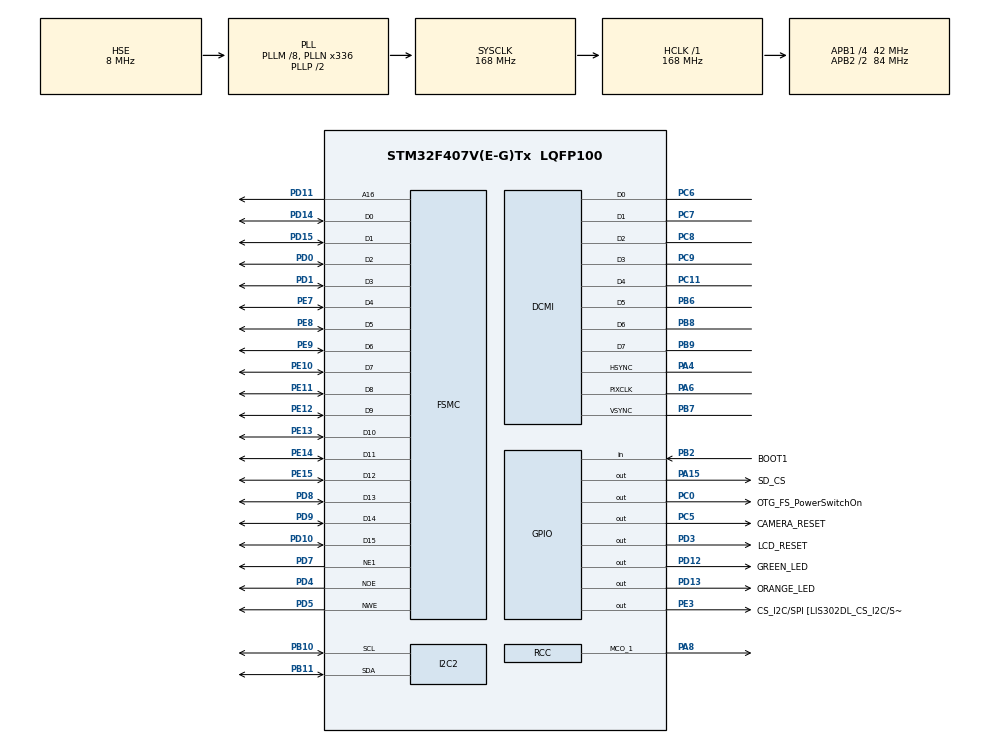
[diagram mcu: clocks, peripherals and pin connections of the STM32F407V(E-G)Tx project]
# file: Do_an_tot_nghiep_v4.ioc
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DCMI.PCKPolarity=DCMI_PCKPOLARITY_RISING
DCMI.VSPolarity=DCMI_VSPOLARITY_HIGH
Dma.DCMI.0.Direction=DMA_PERIPH_TO_MEMORY
Dma.DCMI.0.FIFOMode=DMA_FIFOMODE_DISABLE
Dma.DCMI.0.Instance=DMA2_Stream1
Dma.DCMI.0.MemDataAlignment=DMA_MDATAALIGN_WORD
Dma.DCMI.0.MemInc=DMA_MINC_DISABLE
Dma.DCMI.0.Mode=DMA_NORMAL
Dma.DCMI.0.PeriphDataAlignment=DMA_PDATAALIGN_WORD
Dma.DCMI.0.PeriphInc=DMA_PINC_DISABLE
Dma.DCMI.0.Priority=DMA_PRIORITY_LOW
Dma.Request0=DCMI
FSMC.AddressSetupTime1=2
FSMC.BusTurnAroundDuration1=1
FSMC.DataSetupTime1=4
Mcu.Family=STM32F4
Mcu.Name=STM32F407V(E-G)Tx
Mcu.Package=LQFP100
NVIC.DCMI_IRQn=true\:5\:0\:false\:false\:true\:true\:true
NVIC.DMA2_Stream1_IRQn=true\:5\:0\:false\:false\:true\:true\:true
NVIC.PriorityGroup=NVIC_PRIORITYGROUP_4
NVIC.TIM6_DAC_IRQn=true\:0\:0\:false\:false\:true\:false\:true
NVIC.TimeBase=TIM6_DAC_IRQn
NVIC.TimeBaseIP=TIM6
PA10.GPIO_Label=OTG_FS_ID
PA10.GPIO_Mode=GPIO_MODE_AF_PP
PA10.GPIO_PuPd=GPIO_NOPULL
PA10.GPIO_Speed=GPIO_SPEED_FREQ_LOW
PA10.Signal=USB_OTG_FS_ID
PA11.GPIO_Label=OTG_FS_DM
PA11.GPIO_Mode=GPIO_MODE_AF_PP
PA11.GPIO_PuPd=GPIO_NOPULL
PA11.GPIO_Speed=GPIO_SPEED_FREQ_LOW
PA11.Signal=USB_OTG_FS_DM
PA12.GPIO_Label=OTG_FS_DP
PA12.GPIO_Mode=GPIO_MODE_AF_PP
PA12.GPIO_PuPd=GPIO_NOPULL
PA12.GPIO_Speed=GPIO_SPEED_FREQ_LOW
PA12.Signal=USB_OTG_FS_DP
PA13.GPIO_Label=SWDIO
PA13.Signal=SYS_JTMS-SWDIO
PA14.GPIO_Label=SWCLK
PA14.Signal=SYS_JTCK-SWCLK
PA15.GPIO_Label=SD_CS
PA15.PinState=GPIO_PIN_SET
PA15.Signal=GPIO_Output
PA4.GPIO_PuPd=GPIO_PULLDOWN
PA4.GPIO_Speed=GPIO_SPEED_FREQ_VERY_HIGH
PA4.Mode=Slave_8_bits_External_Synchro
PA4.Signal=DCMI_HSYNC
PA6.GPIO_PuPd=GPIO_PULLDOWN
PA6.GPIO_Speed=GPIO_SPEED_FREQ_VERY_HIGH
PA6.Mode=Slave_8_bits_External_Synchro
PA6.Signal=DCMI_PIXCLK
PA8.GPIO_Speed=GPIO_SPEED_FREQ_VERY_HIGH
PA8.Mode=Clock-out-1
PA8.Signal=RCC_MCO_1
PA9.GPIO_Label=VBUS_FS
PA9.GPIO_Mode=GPIO_MODE_INPUT
PA9.GPIO_PuPd=GPIO_NOPULL
PA9.Signal=USB_OTG_FS_VBUS
PB10.GPIO_Pu=GPIO_PULLUP
PB10.Mode=I2C
PB10.Signal=I2C2_SCL
PB11.GPIO_Pu=GPIO_PULLUP
PB11.Mode=I2C
PB11.Signal=I2C2_SDA
PB2.GPIO_Label=BOOT1
PB2.GPIO_Mode=GPIO_MODE_INPUT
PB2.GPIO_PuPd=GPIO_NOPULL
PB2.Signal=GPIO_Input
PB3.GPIO_Label=SWO
PB3.Signal=SYS_JTDO-SWO
PB6.GPIO_PuPd=GPIO_PULLDOWN
PB6.GPIO_Speed=GPIO_SPEED_FREQ_VERY_HIGH
PB6.Mode=Slave_8_bits_External_Synchro
PB6.Signal=DCMI_D5
PB7.GPIO_PuPd=GPIO_PULLDOWN
PB7.GPIO_Speed=GPIO_SPEED_FREQ_VERY_HIGH
PB7.Mode=Slave_8_bits_External_Synchro
PB7.Signal=DCMI_VSYNC
PB8.GPIO_PuPd=GPIO_PULLDOWN
PB8.GPIO_Speed=GPIO_SPEED_FREQ_VERY_HIGH
PB8.Mode=Slave_8_bits_External_Synchro
PB8.Signal=DCMI_D6
PB9.GPIO_PuPd=GPIO_PULLDOWN
PB9.GPIO_Speed=GPIO_SPEED_FREQ_VERY_HIGH
PB9.Mode=Slave_8_bits_External_Synchro
PB9.Signal=DCMI_D7
PC0.GPIO_Label=OTG_FS_PowerSwitchOn
PC0.GPIO_PuPd=GPIO_NOPULL
PC0.GPIO_Speed=GPIO_SPEED_FREQ_LOW
PC0.PinState=GPIO_PIN_SET
PC0.Signal=GPIO_Output
PC11.GPIO_PuPd=GPIO_PULLDOWN
PC11.GPIO_Speed=GPIO_SPEED_FREQ_VERY_HIGH
PC11.Mode=Slave_8_bits_External_Synchro
PC11.Signal=DCMI_D4
PC14-OSC32_IN.GPIO_Label=PC14-OSC32_IN
PC14-OSC32_IN.Signal=RCC_OSC32_IN
PC15-OSC32_OUT.GPIO_Label=PC15-OSC32_OUT
PC15-OSC32_OUT.Signal=RCC_OSC32_OUT
PC5.GPIO_Label=CAMERA_RESET
PC5.GPIO_PuPd=GPIO_PULLUP
PC5.Signal=GPIO_Output
PC6.GPIO_PuPd=GPIO_PULLDOWN
PC6.GPIO_Speed=GPIO_SPEED_FREQ_VERY_HIGH
PC6.Mode=Slave_8_bits_External_Synchro
PC6.Signal=DCMI_D0
PC7.GPIO_PuPd=GPIO_PULLDOWN
PC7.GPIO_Speed=GPIO_SPEED_FREQ_VERY_HIGH
PC7.Mode=Slave_8_bits_External_Synchro
PC7.Signal=DCMI_D1
PC8.GPIO_PuPd=GPIO_PULLDOWN
PC8.GPIO_Speed=GPIO_SPEED_FREQ_VERY_HIGH
PC8.Mode=Slave_8_bits_External_Synchro
PC8.Signal=DCMI_D2
PC9.GPIO_PuPd=GPIO_PULLDOWN
PC9.GPIO_Speed=GPIO_SPEED_FREQ_VERY_HIGH
PC9.Mode=Slave_8_bits_External_Synchro
PC9.Signal=DCMI_D3
PD0.Mode=16b-d1
PD0.Signal=FSMC_D2
PD1.Mode=16b-d1
PD1.Signal=FSMC_D3
PD10.Mode=16b-d1
PD10.Signal=FSMC_D15
PD11.Mode=A16_1
PD11.Signal=FSMC_A16
PD12.GPIO_Label=GREEN_LED
PD12.GPIO_PuPd=GPIO_NOPULL
PD12.GPIO_Speed=GPIO_SPEED_FREQ_LOW
PD12.PinState=GPIO_PIN_RESET
PD12.Signal=GPIO_Output
PD13.GPIO_Label=ORANGE_LED
PD13.GPIO_PuPd=GPIO_NOPULL
PD13.GPIO_Speed=GPIO_SPEED_FREQ_LOW
PD13.PinState=GPIO_PIN_RESET
PD13.Signal=GPIO_Output
PD14.Mode=16b-d1
PD14.Signal=FSMC_D0
PD15.Mode=16b-d1
PD15.Signal=FSMC_D1
PD3.GPIO_Label=LCD_RESET
PD3.GPIO_PuPd=GPIO_PULLUP
PD3.PinState=GPIO_PIN_SET
PD3.Signal=GPIO_Output
PD4.Mode=Lcd1
PD4.Signal=FSMC_NOE
PD5.Mode=Lcd1
PD5.Signal=FSMC_NWE
PD7.Mode=NorPsramChipSelect1_1
PD7.Signal=FSMC_NE1
PD8.Mode=16b-d1
PD8.Signal=FSMC_D13
PD9.Mode=16b-d1
PD9.Signal=FSMC_D14
PE10.Mode=16b-d1
PE10.Signal=FSMC_D7
PE11.Mode=16b-d1
PE11.Signal=FSMC_D8
PE12.Mode=16b-d1
PE12.Signal=FSMC_D9
PE13.Mode=16b-d1
PE13.Signal=FSMC_D10
PE14.Mode=16b-d1
PE14.Signal=FSMC_D11
PE15.Mode=16b-d1
PE15.Signal=FSMC_D12
PE3.GPIO_Label=CS_I2C/SPI [LIS302DL_CS_I2C/SPI]
PE3.GPIO_PuPd=GPIO_NOPULL
PE3.GPIO_Speed=GPIO_SPEED_FREQ_LOW
PE3.PinState=GPIO_PIN_SET
PE3.Signal=GPIO_Output
PE7.Mode=16b-d1
PE7.Signal=FSMC_D4
PE8.Mode=16b-d1
PE8.Signal=FSMC_D5
PE9.Mode=16b-d1
PE9.Signal=FSMC_D6
PH0-OSC_IN.GPIO_Label=PH0-OSC_IN
PH0-OSC_IN.Mode=HSE-External-Oscillator
PH0-OSC_IN.Signal=RCC_OSC_IN
PH1-OSC_OUT.GPIO_Label=PH1-OSC_OUT
PH1-OSC_OUT.Mode=HSE-External-Oscillator
PH1-OSC_OUT.Signal=RCC_OSC_OUT
ProjectManager.HeapSize=0x200
ProjectManager.StackSize=0x400
ProjectManager.TargetToolchain=STM32CubeIDE
RCC.48MHZClocksFreq_Value=48000000
RCC.AHBFreq_Value=168000000
RCC.APB1CLKDivider=RCC_HCLK_DIV4
RCC.APB1Freq_Value=42000000
RCC.APB1TimFreq_Value=84000000
RCC.APB2CLKDivider=RCC_HCLK_DIV2
RCC.APB2Freq_Value=84000000
RCC.APB2TimFreq_Value=168000000
RCC.CortexFreq_Value=168000000
RCC.HCLKFreq_Value=168000000
RCC.HSE_VALUE=8000000
RCC.HSI_VALUE=16000000
RCC.LSE_VALUE=32768
RCC.PLLM=8
RCC.PLLN=336
RCC.PLLQ=7
RCC.PLLSourceVirtual=RCC_PLLSOURCE_HSE
RCC.RCC_MCO1Source=RCC_MCO1SOURCE_PLLCLK
RCC.RCC_MCODiv1=RCC_MCODIV_4
RCC.SYSCLKFreq_VALUE=168000000
RCC.SYSCLKSource=RCC_SYSCLKSOURCE_PLLCLK
RCC.VCOOutputFreq_Value=336000000
VP_SYS_VS_tim6.Mode=TIM6
board=STM32F4DISCOVERY

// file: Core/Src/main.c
/* USER CODE BEGIN Header */
/**
  ******************************************************************************
  * @file           : main.c
  * @brief          : Main program body
  ******************************************************************************
  * @attention
  *
  * Copyright (c) 2021 TRUONG QUOC KHANH (Mr)
  * All rights reserved.
  *
  * MILITARY TECHNICAL ACADEMY
  * Course: Industrial Control 15
  * 2016-2021
  *                    GRADUATION PROJECT
  *       Image processing on STM32 Discovery board
  *
  ******************************************************************************
  */
/* USER CODE END Header */
#include "main.h"

/* USER CODE BEGIN Includes */
#include "ov7670.h"
#include "lcdIli9341.h"
#include "RGB_Image.h"
#include "Image_processing.h"
/* USER CODE END Includes */

DCMI_HandleTypeDef hdcmi;
DMA_HandleTypeDef hdma_dcmi;

I2C_HandleTypeDef hi2c2;

SRAM_HandleTypeDef hsram1;

/* USER CODE BEGIN PV */
volatile uint16_t count = 0;
volatile uint16_t counter_now = 0;
volatile uint16_t counter_pre=0;
volatile uint16_t* p_lcdData;

/* USER CODE END PV */

void SystemClock_Config(void);
static void MX_GPIO_Init(void);
static void MX_DMA_Init(void);
static void MX_DCMI_Init(void);
static void MX_FSMC_Init(void);
static void MX_I2C2_Init(void);
/* USER CODE BEGIN PFP */
RET camera(uint32_t mode, uint32_t capmode);
void switch_mode(uint32_t mode);

/* USER CODE END PFP */

int main(void)
{

  /* MCU Configuration--------------------------------------------------------*/

  /* Reset of all peripherals, Initializes the Flash interface and the Systick. */
  HAL_Init();

  /* Configure the system clock */
  SystemClock_Config();

  /* Initialize all configured peripherals */
  MX_GPIO_Init();
  MX_DMA_Init();
  MX_DCMI_Init();
  MX_FSMC_Init();
  MX_I2C2_Init();
  /* USER CODE BEGIN 2 */
  //lcd Init
  lcdIli9341_init();
  lcdIli9341_drawRect(80, 80, 100, 100,  LCD_ILI9341_COLOR_RED |  LCD_ILI9341_COLOR_BLUE);
  //HAL_Delay(500);
 // RGB_Image(gImage, 153600);
 // HAL_Delay(1000);
  //camera(OV7670_MODE_QVGA_RGB565, OV7670_CAP_CONTINUOUS);

  /* USER CODE END 2 */

  /* Infinite loop */
  /* USER CODE BEGIN WHILE */

  while (1)
  {
	  if (counter_now != counter_pre)
	  {
		  switch_mode(counter_now);
		  counter_pre = counter_now;
	  }

    /* USER CODE END WHILE */

  }
}

void SystemClock_Config(void)
{
  RCC_OscInitTypeDef RCC_OscInitStruct = {0};
  RCC_ClkInitTypeDef RCC_ClkInitStruct = {0};

  /** Configure the main internal regulator output voltage
  */
  __HAL_RCC_PWR_CLK_ENABLE();
  __HAL_PWR_VOLTAGESCALING_CONFIG(PWR_REGULATOR_VOLTAGE_SCALE1);
  /** Initializes the RCC Oscillators according to the specified parameters
  * in the RCC_OscInitTypeDef structure.
  */
  RCC_OscInitStruct.OscillatorType = RCC_OSCILLATORTYPE_HSE;
  RCC_OscInitStruct.HSEState = RCC_HSE_ON;
  RCC_OscInitStruct.PLL.PLLState = RCC_PLL_ON;
  RCC_OscInitStruct.PLL.PLLSource = RCC_PLLSOURCE_HSE;
  RCC_OscInitStruct.PLL.PLLM = 8;
  RCC_OscInitStruct.PLL.PLLN = 336;
  RCC_OscInitStruct.PLL.PLLP = RCC_PLLP_DIV2;
  RCC_OscInitStruct.PLL.PLLQ = 7;
  if (HAL_RCC_OscConfig(&RCC_OscInitStruct) != HAL_OK)
  {
    Error_Handler();
  }
  /** Initializes the CPU, AHB and APB buses clocks
  */
  RCC_ClkInitStruct.ClockType = RCC_CLOCKTYPE_HCLK|RCC_CLOCKTYPE_SYSCLK
                              |RCC_CLOCKTYPE_PCLK1|RCC_CLOCKTYPE_PCLK2;
  RCC_ClkInitStruct.SYSCLKSource = RCC_SYSCLKSOURCE_PLLCLK;
  RCC_ClkInitStruct.AHBCLKDivider = RCC_SYSCLK_DIV1;
  RCC_ClkInitStruct.APB1CLKDivider = RCC_HCLK_DIV4;
  RCC_ClkInitStruct.APB2CLKDivider = RCC_HCLK_DIV2;

  if (HAL_RCC_ClockConfig(&RCC_ClkInitStruct, FLASH_LATENCY_5) != HAL_OK)
  {
    Error_Handler();
  }
  HAL_RCC_MCOConfig(RCC_MCO1, RCC_MCO1SOURCE_PLLCLK, RCC_MCODIV_4);
}

static void MX_DCMI_Init(void)
{

  hdcmi.Instance = DCMI;
  hdcmi.Init.SynchroMode = DCMI_SYNCHRO_HARDWARE;
  hdcmi.Init.PCKPolarity = DCMI_PCKPOLARITY_RISING;
  hdcmi.Init.VSPolarity = DCMI_VSPOLARITY_HIGH;
  hdcmi.Init.HSPolarity = DCMI_HSPOLARITY_LOW;
  hdcmi.Init.CaptureRate = DCMI_CR_ALL_FRAME;
  hdcmi.Init.ExtendedDataMode = DCMI_EXTEND_DATA_8B;
  hdcmi.Init.JPEGMode = DCMI_JPEG_DISABLE;
  if (HAL_DCMI_Init(&hdcmi) != HAL_OK)
  {
    Error_Handler();
  }

}

static void MX_I2C2_Init(void)
{

  hi2c2.Instance = I2C2;
  hi2c2.Init.ClockSpeed = 100000;
  hi2c2.Init.DutyCycle = I2C_DUTYCYCLE_2;
  hi2c2.Init.OwnAddress1 = 0;
  hi2c2.Init.AddressingMode = I2C_ADDRESSINGMODE_7BIT;
  hi2c2.Init.DualAddressMode = I2C_DUALADDRESS_DISABLE;
  hi2c2.Init.OwnAddress2 = 0;
  hi2c2.Init.GeneralCallMode = I2C_GENERALCALL_DISABLE;
  hi2c2.Init.NoStretchMode = I2C_NOSTRETCH_DISABLE;
  if (HAL_I2C_Init(&hi2c2) != HAL_OK)
  {
    Error_Handler();
  }

}

static void MX_DMA_Init(void)
{

  /* DMA controller clock enable */
  __HAL_RCC_DMA2_CLK_ENABLE();

  /* DMA interrupt init */
  /* DMA2_Stream1_IRQn interrupt configuration */
  HAL_NVIC_SetPriority(DMA2_Stream1_IRQn, 5, 0);
  HAL_NVIC_EnableIRQ(DMA2_Stream1_IRQn);

}

static void MX_GPIO_Init(void)
{
  GPIO_InitTypeDef GPIO_InitStruct = {0};

  /* GPIO Ports Clock Enable */
  __HAL_RCC_GPIOE_CLK_ENABLE();
  __HAL_RCC_GPIOC_CLK_ENABLE();
  __HAL_RCC_GPIOH_CLK_ENABLE();
  __HAL_RCC_GPIOA_CLK_ENABLE();
  __HAL_RCC_GPIOB_CLK_ENABLE();
  __HAL_RCC_GPIOD_CLK_ENABLE();

  /*Configure GPIO pin Output Level */
  HAL_GPIO_WritePin(CS_I2C_SPI_GPIO_Port, CS_I2C_SPI_Pin, GPIO_PIN_SET);

  /*Configure GPIO pin Output Level */
  HAL_GPIO_WritePin(OTG_FS_PowerSwitchOn_GPIO_Port, OTG_FS_PowerSwitchOn_Pin, GPIO_PIN_SET);

  /*Configure GPIO pin Output Level */
  HAL_GPIO_WritePin(CAMERA_RESET_GPIO_Port, CAMERA_RESET_Pin, GPIO_PIN_RESET);

  /*Configure GPIO pin Output Level */
  HAL_GPIO_WritePin(GPIOD, GREEN_LED_Pin|ORANGE_LED_Pin, GPIO_PIN_RESET);

  /*Configure GPIO pin Output Level */
  HAL_GPIO_WritePin(SD_CS_GPIO_Port, SD_CS_Pin, GPIO_PIN_SET);

  /*Configure GPIO pin Output Level */
  HAL_GPIO_WritePin(LCD_RESET_GPIO_Port, LCD_RESET_Pin, GPIO_PIN_SET);

  /*Configure GPIO pin : CS_I2C_SPI_Pin */
  GPIO_InitStruct.Pin = CS_I2C_SPI_Pin;
  GPIO_InitStruct.Mode = GPIO_MODE_OUTPUT_PP;
  GPIO_InitStruct.Pull = GPIO_NOPULL;
  GPIO_InitStruct.Speed = GPIO_SPEED_FREQ_LOW;
  HAL_GPIO_Init(CS_I2C_SPI_GPIO_Port, &GPIO_InitStruct);

  /*Configure GPIO pin : OTG_FS_PowerSwitchOn_Pin */
  GPIO_InitStruct.Pin = OTG_FS_PowerSwitchOn_Pin;
  GPIO_InitStruct.Mode = GPIO_MODE_OUTPUT_PP;
  GPIO_InitStruct.Pull = GPIO_NOPULL;
  GPIO_InitStruct.Speed = GPIO_SPEED_FREQ_LOW;
  HAL_GPIO_Init(OTG_FS_PowerSwitchOn_GPIO_Port, &GPIO_InitStruct);

  /*Configure GPIO pin : CAMERA_RESET_Pin */
  GPIO_InitStruct.Pin = CAMERA_RESET_Pin;
  GPIO_InitStruct.Mode = GPIO_MODE_OUTPUT_PP;
  GPIO_InitStruct.Pull = GPIO_PULLUP;
  GPIO_InitStruct.Speed = GPIO_SPEED_FREQ_LOW;
  HAL_GPIO_Init(CAMERA_RESET_GPIO_Port, &GPIO_InitStruct);

  /*Configure GPIO pin : BOOT1_Pin */
  GPIO_InitStruct.Pin = BOOT1_Pin;
  GPIO_InitStruct.Mode = GPIO_MODE_INPUT;
  GPIO_InitStruct.Pull = GPIO_NOPULL;
  HAL_GPIO_Init(BOOT1_GPIO_Port, &GPIO_InitStruct);

  /*Configure GPIO pins : GREEN_LED_Pin ORANGE_LED_Pin */
  GPIO_InitStruct.Pin = GREEN_LED_Pin|ORANGE_LED_Pin;
  GPIO_InitStruct.Mode = GPIO_MODE_OUTPUT_PP;
  GPIO_InitStruct.Pull = GPIO_NOPULL;
  GPIO_InitStruct.Speed = GPIO_SPEED_FREQ_LOW;
  HAL_GPIO_Init(GPIOD, &GPIO_InitStruct);

  /*Configure GPIO pin : PA8 */
  GPIO_InitStruct.Pin = GPIO_PIN_8;
  GPIO_InitStruct.Mode = GPIO_MODE_AF_PP;
  GPIO_InitStruct.Pull = GPIO_NOPULL;
  GPIO_InitStruct.Speed = GPIO_SPEED_FREQ_VERY_HIGH;
  GPIO_InitStruct.Alternate = GPIO_AF0_MCO;
  HAL_GPIO_Init(GPIOA, &GPIO_InitStruct);

  /*Configure GPIO pin : VBUS_FS_Pin */
  GPIO_InitStruct.Pin = VBUS_FS_Pin;
  GPIO_InitStruct.Mode = GPIO_MODE_INPUT;
  GPIO_InitStruct.Pull = GPIO_NOPULL;
  HAL_GPIO_Init(VBUS_FS_GPIO_Port, &GPIO_InitStruct);

  /*Configure GPIO pins : OTG_FS_ID_Pin OTG_FS_DM_Pin OTG_FS_DP_Pin */
  GPIO_InitStruct.Pin = OTG_FS_ID_Pin|OTG_FS_DM_Pin|OTG_FS_DP_Pin;
  GPIO_InitStruct.Mode = GPIO_MODE_AF_PP;
  GPIO_InitStruct.Pull = GPIO_NOPULL;
  GPIO_InitStruct.Speed = GPIO_SPEED_FREQ_LOW;
  GPIO_InitStruct.Alternate = GPIO_AF10_OTG_FS;
  HAL_GPIO_Init(GPIOA, &GPIO_InitStruct);

  /*Configure GPIO pin : SD_CS_Pin */
  GPIO_InitStruct.Pin = SD_CS_Pin;
  GPIO_InitStruct.Mode = GPIO_MODE_OUTPUT_PP;
  GPIO_InitStruct.Pull = GPIO_NOPULL;
  GPIO_InitStruct.Speed = GPIO_SPEED_FREQ_LOW;
  HAL_GPIO_Init(SD_CS_GPIO_Port, &GPIO_InitStruct);

  /*Configure GPIO pin : LCD_RESET_Pin */
  GPIO_InitStruct.Pin = LCD_RESET_Pin;
  GPIO_InitStruct.Mode = GPIO_MODE_OUTPUT_PP;
  GPIO_InitStruct.Pull = GPIO_PULLUP;
  GPIO_InitStruct.Speed = GPIO_SPEED_FREQ_LOW;
  HAL_GPIO_Init(LCD_RESET_GPIO_Port, &GPIO_InitStruct);

}

/* FSMC initialization function */
static void MX_FSMC_Init(void)
{

  FSMC_NORSRAM_TimingTypeDef Timing = {0};

  /** Perform the SRAM1 memory initialization sequence
  */
  hsram1.Instance = FSMC_NORSRAM_DEVICE;
  hsram1.Extended = FSMC_NORSRAM_EXTENDED_DEVICE;
  /* hsram1.Init */
  hsram1.Init.NSBank = FSMC_NORSRAM_BANK1;
  hsram1.Init.DataAddressMux = FSMC_DATA_ADDRESS_MUX_DISABLE;
  hsram1.Init.MemoryType = FSMC_MEMORY_TYPE_SRAM;
  hsram1.Init.MemoryDataWidth = FSMC_NORSRAM_MEM_BUS_WIDTH_16;
  hsram1.Init.BurstAccessMode = FSMC_BURST_ACCESS_MODE_DISABLE;
  hsram1.Init.WaitSignalPolarity = FSMC_WAIT_SIGNAL_POLARITY_LOW;
  hsram1.Init.WrapMode = FSMC_WRAP_MODE_DISABLE;
  hsram1.Init.WaitSignalActive = FSMC_WAIT_TIMING_BEFORE_WS;
  hsram1.Init.WriteOperation = FSMC_WRITE_OPERATION_ENABLE;
  hsram1.Init.WaitSignal = FSMC_WAIT_SIGNAL_DISABLE;
  hsram1.Init.ExtendedMode = FSMC_EXTENDED_MODE_DISABLE;
  hsram1.Init.AsynchronousWait = FSMC_ASYNCHRONOUS_WAIT_DISABLE;
  hsram1.Init.WriteBurst = FSMC_WRITE_BURST_DISABLE;
  hsram1.Init.PageSize = FSMC_PAGE_SIZE_NONE;
  /* Timing */
  Timing.AddressSetupTime = 2;
  Timing.AddressHoldTime = 15;
  Timing.DataSetupTime = 4;
  Timing.BusTurnAroundDuration = 1;
  Timing.CLKDivision = 16;
  Timing.DataLatency = 17;
  Timing.AccessMode = FSMC_ACCESS_MODE_A;
  /* ExtTiming */

  if (HAL_SRAM_Init(&hsram1, &Timing, NULL) != HAL_OK)
  {
    Error_Handler( );
  }

}

/* USER CODE BEGIN 4 */

RET camera(uint32_t mode, uint32_t capmode)
{
	ov7670_init(&hdcmi, &hdma_dcmi, &hi2c2);
	ov7670_config(mode);

	 p_lcdData = lcdIli9341_getDrawAddress();
	 lcdIli9341_setArea(0, 0, LCD_ILI9341_WIDTH - 1, LCD_ILI9341_HEIGHT - 1);

	 ov7670_startCap(capmode, p_lcdData);
	 return HAL_OK;
}

RET lcdIntro(void)
{
	  p_lcdData = lcdIli9341_getDrawAddress();
		  lcdIli9341_setArea(0, 0, LCD_ILI9341_WIDTH - 1, LCD_ILI9341_HEIGHT - 1);

			  /*---------------------*/
			  for(uint32_t y = 0 * LCD_ILI9341_HEIGHT/3; y < 2 * LCD_ILI9341_HEIGHT/3; y++)
					  	  {
						  	  for(uint32_t x = 0; x < LCD_ILI9341_WIDTH; x++)
						  		  *p_lcdData = LCD_ILI9341_COLOR_RED;
					  	  }
			  for(uint32_t y = 1 * LCD_ILI9341_HEIGHT/3; y < 2 * LCD_ILI9341_HEIGHT/3; y++)
			  	  {
				  	  for(uint32_t x = 0; x < LCD_ILI9341_WIDTH; x++)
				  		  *p_lcdData = LCD_ILI9341_COLOR_GREEN;
			  	  }
			  for(uint32_t y = 2 * LCD_ILI9341_HEIGHT/3; y < 3 * LCD_ILI9341_HEIGHT/3; y++)
			  	  {
				  	  for(uint32_t x = 0; x < LCD_ILI9341_WIDTH; x++)
				  		  *p_lcdData = LCD_ILI9341_COLOR_BLUE;
			  	  }
			  HAL_Delay(500);
		return HAL_OK;
}

void switch_mode(uint32_t mode)
{
	uint16_t  modeStatus =  HAL_BUSY ;
	switch(mode)
	{
	case 1:{
		 ov7670_reset();
		modeStatus = lcdIntro();
		while(modeStatus != HAL_OK);
		break;
		}
	case 2:
	{	ov7670_reset();
		modeStatus = RGB_Image(gImage, 153600);
		while(modeStatus != HAL_OK);
		break;
	}
	case 3:
	{	ov7670_reset();
		modeStatus = Gray32_Image(gImage, 153600);
		while (modeStatus != HAL_OK);
		break;
	}
	case 4:
	{
		ov7670_reset();
		modeStatus = Bin_Image(gImage, 153600);
		while (modeStatus != HAL_OK);
		break;
	}
	case 5:
	{
		ov7670_reset();
		modeStatus = ColorFiler_Image(gImage, 153600, LCD_ILI9341_COLOR_RED );
		while (modeStatus != HAL_OK);
		break;
	}
	case 6:
	{
		ov7670_reset();
		modeStatus = ColorFiler_Image(gImage, 153600, LCD_ILI9341_COLOR_GREEN );
		while (modeStatus != HAL_OK);
		break;
	}
	case 7:
	{
		ov7670_reset();
		modeStatus = ColorFiler_Image(gImage, 153600, LCD_ILI9341_COLOR_BLUE);
		while (modeStatus != HAL_OK);
		break;
	}
	case 8:
	{
		ov7670_reset();
		modeStatus = Negative_Image(gImage, 153600);
		while (modeStatus != HAL_OK);
		break;
	}
	case 9:{
		modeStatus = camera(OV7670_MODE_QVGA_RGB565, OV7670_CAP_CONTINUOUS);
		while(modeStatus != HAL_OK);
		break;
		}
	}
}
/* USER CODE END 4 */

void HAL_TIM_PeriodElapsedCallback(TIM_HandleTypeDef *htim)
{
  if (htim->Instance == TIM6) {
    HAL_IncTick();
  }
}

void Error_Handler(void)
{
  __disable_irq();
  while (1)
  {
  }
}

/************************ (C) COPYRIGHT STMicroelectronics *****END OF FILE****/
